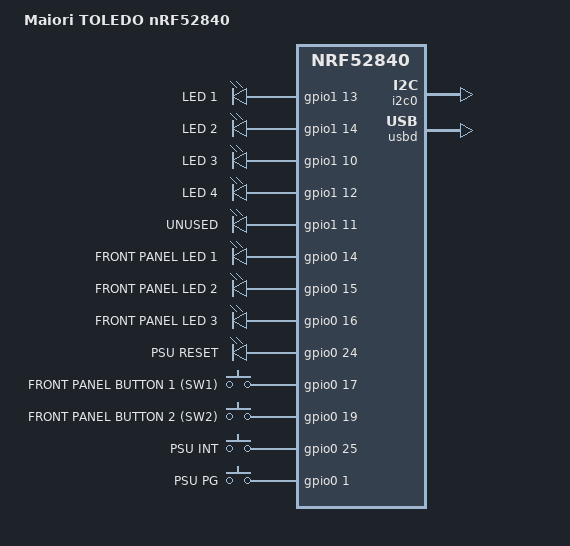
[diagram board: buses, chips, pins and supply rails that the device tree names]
/*
 * Copyright (c) 2019 Laird Connectivity
 *
 * SPDX-License-Identifier: Apache-2.0
 */

/dts-v1/;
// #include "/home/diego/Nordic/ncs/zephyr/dts/arm/nordic/nrf52840_qiaa.dtsi"
#include <nordic/nrf52840_qiaa.dtsi>
#include "nrf_toledo-pinctrl.dtsi"

/ {
	model = "Maiori TOLEDO nRF52840";
	compatible = "nordic,nrf_toledo";

	chosen {
		zephyr,console = &uart0;
		zephyr,shell-uart = &uart0;
		zephyr,uart-mcumgr = &uart0;
		zephyr,bt-mon-uart = &uart0;
		zephyr,bt-c2h-uart = &uart0;
		zephyr,sram = &sram0;
		zephyr,flash = &flash0;
		zephyr,code-partition = &slot0_partition;
	};

	leds {
		compatible = "gpio-leds";
		led1: led_1 {
			gpios = <&gpio1 13 GPIO_ACTIVE_HIGH>;
			label = "LED 1";
		};
		led2: led_2 {
			gpios = <&gpio1 14 GPIO_ACTIVE_HIGH>;
			label = "LED 2";
		};
		led3: led_3 {
			gpios = <&gpio1 10 GPIO_ACTIVE_HIGH>;
			label = "LED 3";
		};
		led4: led_4 {
			gpios = <&gpio1 12 GPIO_ACTIVE_HIGH>;
			label = "LED 4";
		};
		led5: led_5 {
			gpios = <&gpio1 11 GPIO_ACTIVE_HIGH>;
			label = "UNUSED";
		};
		led6: led_6 {
			gpios = <&gpio0 14 GPIO_ACTIVE_HIGH>;
			label = "FRONT PANEL LED 1";
		};
		led7: led_7 {
			gpios = <&gpio0 15 GPIO_ACTIVE_HIGH>;
			label = "FRONT PANEL LED 2";
		};
		led8: led_8 {
			gpios = <&gpio0 16 GPIO_ACTIVE_HIGH>;
			label = "FRONT PANEL LED 3";
		};
		led9: led_9 {
			gpios = <&gpio0 24 GPIO_ACTIVE_HIGH>;
			label = "PSU RESET";
		};

	};
	

	buttons {
		compatible = "gpio-keys";
		button1: button_1 {
			gpios = <&gpio0 17 GPIO_PULL_DOWN>;
			label = "FRONT PANEL BUTTON 1 (SW1)";
		};
		button2: button_2 {
			gpios = <&gpio0 19 GPIO_PULL_DOWN>;
			label = "FRONT PANEL BUTTON 2 (SW2)";
		};
		button3: button_3 {
			gpios = <&gpio0 25 GPIO_PULL_DOWN>;
			label = "PSU INT";
		};
		button4: button_4 {
			gpios = <&gpio0 1 GPIO_PULL_DOWN>;
			label = "PSU PG";
		};
	};

	/* These aliases are provided for compatibility with samples */
	aliases {
		led_out1 = &led1;
		led_out2 = &led2;
		led_out3 = &led3;
		led_out4 = &led4;
		output5 = &led5;
		led_front1 = &led6;
		led_front2 = &led7;
		led_front3 = &led8;
		psu_reset = &led9;

		sw1 = &button1;
		sw2 = &button2;
		psu_int = &button3;		
		psu_pg = &button4;
	};


};


&gpiote {
	status = "okay";
};

&gpio0 {
	status = "okay";
};

&gpio1 {
	status = "okay";
};


&i2c0 {
	compatible = "nordic,nrf-twi";
	status = "okay";

	pinctrl-0 = <&i2c0_default>;
	pinctrl-1 = <&i2c0_sleep>;
	pinctrl-names = "default", "sleep";
	
};



&flash0 {

	partitions {
		compatible = "fixed-partitions";
		#address-cells = <1>;
		#size-cells = <1>;

		boot_partition: partition@0 {
			label = "mcuboot";
			reg = <0x000000000 0x0000C000>;
		};
		slot0_partition: partition@c000 {
			label = "image-0";
			reg = <0x0000C000 0x00067000>;
		};
		slot1_partition: partition@73000 {
			label = "image-1";
			reg = <0x00073000 0x00067000>;
		};
		scratch_partition: partition@da000 {
			label = "image-scratch";
			reg = <0x000da000 0x0001e000>;
		};

		/*
		 * The flash starting at 0x000f8000 and ending at
		 * 0x000fffff is reserved for use by the application.
		 */

		/*
		 * Storage partition will be used by FCB/LittleFS/NVS
		 * if enabled.
		 */
		storage_partition: partition@f8000 {
			label = "storage";
			reg = <0x000f8000 0x00008000>;
		};
	};
};

zephyr_udc0: &usbd {
	compatible = "nordic,nrf-usbd";
	status = "okay";
};
